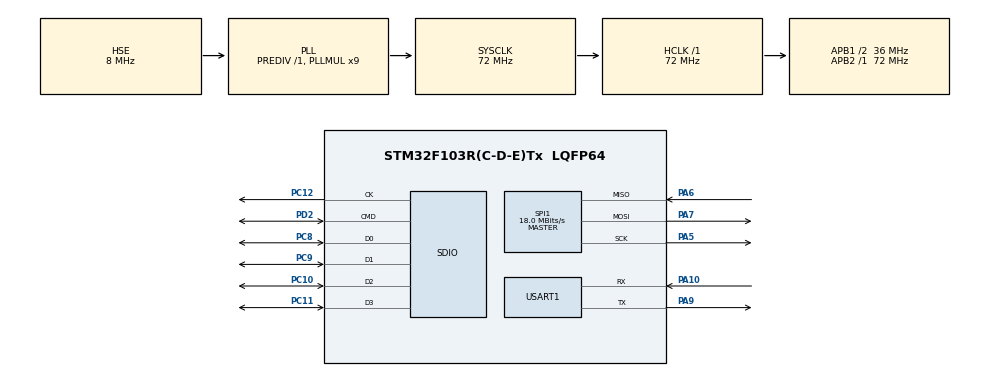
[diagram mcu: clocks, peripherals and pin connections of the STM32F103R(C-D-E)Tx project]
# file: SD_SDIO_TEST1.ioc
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Dma.Request0=SDIO
Dma.SDIO.0.Direction=DMA_PERIPH_TO_MEMORY
Dma.SDIO.0.Instance=DMA2_Channel4
Dma.SDIO.0.MemDataAlignment=DMA_MDATAALIGN_WORD
Dma.SDIO.0.MemInc=DMA_MINC_ENABLE
Dma.SDIO.0.Mode=DMA_NORMAL
Dma.SDIO.0.PeriphDataAlignment=DMA_PDATAALIGN_WORD
Dma.SDIO.0.PeriphInc=DMA_PINC_DISABLE
Dma.SDIO.0.Priority=DMA_PRIORITY_VERY_HIGH
FATFS._FS_RPATH=2
FATFS._MAX_SS=4096
Mcu.Family=STM32F1
Mcu.Name=STM32F103R(C-D-E)Tx
Mcu.Package=LQFP64
NVIC.DMA2_Channel4_5_IRQn=true\:0\:0\:false\:false\:true
NVIC.PriorityGroup=NVIC_PRIORITYGROUP_4
NVIC.SDIO_IRQn=true\:0\:0\:false\:false\:true
NVIC.USART1_IRQn=true\:0\:0\:false\:false\:true
PA10.Mode=Asynchronous
PA10.Signal=USART1_RX
PA13.Mode=Serial_Wire
PA13.Signal=SYS_JTMS-SWDIO
PA14.Mode=Serial_Wire
PA14.Signal=SYS_JTCK-SWCLK
PA5.Mode=Full_Duplex_Master
PA5.Signal=SPI1_SCK
PA6.Mode=Full_Duplex_Master
PA6.Signal=SPI1_MISO
PA7.Mode=Full_Duplex_Master
PA7.Signal=SPI1_MOSI
PA9.Mode=Asynchronous
PA9.Signal=USART1_TX
PC10.Mode=SD_4_bits_Wide_bus
PC10.Signal=SDIO_D2
PC11.Mode=SD_4_bits_Wide_bus
PC11.Signal=SDIO_D3
PC12.Mode=SD_4_bits_Wide_bus
PC12.Signal=SDIO_CK
PC8.Mode=SD_4_bits_Wide_bus
PC8.Signal=SDIO_D0
PC9.Mode=SD_4_bits_Wide_bus
PC9.Signal=SDIO_D1
PD0-OSC_IN.Mode=HSE-External-Oscillator
PD0-OSC_IN.Signal=RCC_OSC_IN
PD1-OSC_OUT.Mode=HSE-External-Oscillator
PD1-OSC_OUT.Signal=RCC_OSC_OUT
PD2.Mode=SD_4_bits_Wide_bus
PD2.Signal=SDIO_CMD
ProjectManager.HeapSize=0x200
ProjectManager.StackSize=0x400
ProjectManager.TargetToolchain=MDK-ARM V5
RCC.AHBFreq_Value=72000000
RCC.APB1CLKDivider=RCC_HCLK_DIV2
RCC.APB1Freq_Value=36000000
RCC.APB1TimFreq_Value=72000000
RCC.APB2Freq_Value=72000000
RCC.APB2TimFreq_Value=72000000
RCC.HCLKFreq_Value=72000000
RCC.PLLMUL=RCC_PLL_MUL9
RCC.PLLSourceVirtual=RCC_PLLSOURCE_HSE
RCC.SYSCLKFreq_VALUE=72000000
RCC.SYSCLKSource=RCC_SYSCLKSOURCE_PLLCLK
RCC.USBFreq_Value=72000000
SDIO.ClockDiv=2
SPI1.BaudRatePrescaler=SPI_BAUDRATEPRESCALER_4
SPI1.CLKPhase=SPI_PHASE_2EDGE
SPI1.CalculateBaudRate=18.0 MBits/s
SPI1.Direction=SPI_DIRECTION_2LINES
SPI1.Mode=SPI_MODE_MASTER
SPI1.VirtualType=VM_MASTER
USART1.VirtualMode=VM_ASYNC
VP_FATFS_VS_Generic.Mode=User_defined
VP_FATFS_VS_SDIO.Mode=SDIO
board=SD_SDIO_TEST1

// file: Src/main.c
/**
  ******************************************************************************
  * File Name          : main.c
  * Description        : Main program body
  ******************************************************************************
  * This notice applies to any and all portions of this file
  * that are not between comment pairs USER CODE BEGIN and
  * USER CODE END. Other portions of this file, whether
  * inserted by the user or by software development tools
  * are owned by their respective copyright owners.
  *
  * Copyright (c) 2017 STMicroelectronics International N.V.
  * All rights reserved.
  *
  * Redistribution and use in source and binary forms, with or without
  * modification, are permitted, provided that the following conditions are met:
  *
  * 1. Redistribution of source code must retain the above copyright notice,
  *    this list of conditions and the following disclaimer.
  * 2. Redistributions in binary form must reproduce the above copyright notice,
  *    this list of conditions and the following disclaimer in the documentation
  *    and/or other materials provided with the distribution.
  * 3. Neither the name of STMicroelectronics nor the names of other
  *    contributors to this software may be used to endorse or promote products
  *    derived from this software without specific written permission.
  * 4. This software, including modifications and/or derivative works of this
  *    software, must execute solely and exclusively on microcontroller or
  *    microprocessor devices manufactured by or for STMicroelectronics.
  * 5. Redistribution and use of this software other than as permitted under
  *    this license is void and will automatically terminate your rights under
  *    this license.
  *
  * THIS SOFTWARE IS PROVIDED BY STMICROELECTRONICS AND CONTRIBUTORS "AS IS"
  * AND ANY EXPRESS, IMPLIED OR STATUTORY WARRANTIES, INCLUDING, BUT NOT
  * LIMITED TO, THE IMPLIED WARRANTIES OF MERCHANTABILITY, FITNESS FOR A
  * PARTICULAR PURPOSE AND NON-INFRINGEMENT OF THIRD PARTY INTELLECTUAL PROPERTY
  * RIGHTS ARE DISCLAIMED TO THE FULLEST EXTENT PERMITTED BY LAW. IN NO EVENT
  * SHALL STMICROELECTRONICS OR CONTRIBUTORS BE LIABLE FOR ANY DIRECT, INDIRECT,
  * INCIDENTAL, SPECIAL, EXEMPLARY, OR CONSEQUENTIAL DAMAGES (INCLUDING, BUT NOT
  * LIMITED TO, PROCUREMENT OF SUBSTITUTE GOODS OR SERVICES; LOSS OF USE, DATA,
  * OR PROFITS; OR BUSINESS INTERRUPTION) HOWEVER CAUSED AND ON ANY THEORY OF
  * LIABILITY, WHETHER IN CONTRACT, STRICT LIABILITY, OR TORT (INCLUDING
  * NEGLIGENCE OR OTHERWISE) ARISING IN ANY WAY OUT OF THE USE OF THIS SOFTWARE,
  * EVEN IF ADVISED OF THE POSSIBILITY OF SUCH DAMAGE.
  *
  ******************************************************************************
  */
#include "main.h"
#include "stm32f1xx_hal.h"
#include "dma.h"
#include "fatfs.h"
#include "sdio.h"
#include "spi.h"
#include "usart.h"
#include "gpio.h"

/* USER CODE BEGIN PV */
/* Private variables ---------------------------------------------------------*/

/* USER CODE END PV */

void SystemClock_Config(void);

/* USER CODE BEGIN PFP */
/* Private function prototypes -----------------------------------------------*/

/* USER CODE END PFP */

/* USER CODE BEGIN 0 */
typedef enum {FAILED = 0, PASSED = !FAILED} TestStatus;

#define BLOCK_SIZE            512         // SD卡块大小
#define NUMBER_OF_BLOCKS      8           // 测试块数量(小于15)
#define WRITE_READ_ADDRESS    0x00000000  // 测试读写地址

SD_HandleTypeDef hsdcard;
uint32_t Buffer_Block_Tx[BLOCK_SIZE*NUMBER_OF_BLOCKS]; // 写数据缓存
uint32_t Buffer_Block_Rx[BLOCK_SIZE*NUMBER_OF_BLOCKS]; // 读数据缓存
HAL_SD_ErrorTypedef sd_status;    // HAL库函数操作SD卡函数返回值：操作结果
TestStatus test_status;           // 数据测试结果
	HAL_SD_TransferStateTypedef State;

void Fill_Buffer(uint32_t *pBuffer, uint32_t BufferLength, uint32_t Offset);
TestStatus Buffercmp(uint32_t* pBuffer1, uint32_t* pBuffer2, uint32_t BufferLength);
TestStatus eBuffercmp(uint32_t* pBuffer, uint32_t BufferLength);

void SD_EraseTest(void);
void SD_Write_Read_Test(void);

/* USER CODE END 0 */

int main(void)
{

  /* USER CODE BEGIN 1 */

//	HAL_SD_TransferStateTypedef State;

  /* USER CODE END 1 */

  /* MCU Configuration----------------------------------------------------------*/

  /* Reset of all peripherals, Initializes the Flash interface and the Systick. */
  HAL_Init();

  /* Configure the system clock */
  SystemClock_Config();

  /* Initialize all configured peripherals */
  MX_GPIO_Init();
  MX_DMA_Init();
  MX_SDIO_SD_Init();
  MX_FATFS_Init();
  MX_SPI1_Init();
  MX_USART1_UART_Init();

  /* USER CODE BEGIN 2 */

	printf("Hello World!\n\r");

	State = HAL_SD_GetStatus(&hsdcard);
	if( State == SD_TRANSFER_OK )
	{
		printf("SD卡初始化成功");
	}
	else
	{
		printf("SD卡初始化失败");
		while(1);  //停机
	}
	 /* 获取SD卡信息 */
  sd_status=HAL_SD_Get_CardInfo(&hsdcard,&SDCardInfo);
  if(sd_status==SD_OK)
  {
    printf( "CardType is ：%d\n", SDCardInfo.CardType );
    printf( "CardCapacity is ：0x%llX\n", SDCardInfo.CardCapacity );
    printf( "CardBlockSize is ：%d\n", SDCardInfo.CardBlockSize );
    printf( "RCA is ：%d\n", SDCardInfo.RCA);
    printf( "ManufacturerID is ：%d \n", SDCardInfo.SD_cid.ManufacturerID );
  }

  /* 擦除测试 */
  SD_EraseTest();
  /* 读写测试 */
  SD_Write_Read_Test();

  /* USER CODE END 2 */

  /* Infinite loop */
  while (1)
  {

  }

}

/** System Clock Configuration
*/
void SystemClock_Config(void)
{

  RCC_OscInitTypeDef RCC_OscInitStruct;
  RCC_ClkInitTypeDef RCC_ClkInitStruct;

    /**Initializes the CPU, AHB and APB busses clocks
    */
  RCC_OscInitStruct.OscillatorType = RCC_OSCILLATORTYPE_HSE;
  RCC_OscInitStruct.HSEState = RCC_HSE_ON;
  RCC_OscInitStruct.HSEPredivValue = RCC_HSE_PREDIV_DIV1;
  RCC_OscInitStruct.HSIState = RCC_HSI_ON;
  RCC_OscInitStruct.PLL.PLLState = RCC_PLL_ON;
  RCC_OscInitStruct.PLL.PLLSource = RCC_PLLSOURCE_HSE;
  RCC_OscInitStruct.PLL.PLLMUL = RCC_PLL_MUL9;
  if (HAL_RCC_OscConfig(&RCC_OscInitStruct) != HAL_OK)
  {
    _Error_Handler(__FILE__, __LINE__);
  }

    /**Initializes the CPU, AHB and APB busses clocks
    */
  RCC_ClkInitStruct.ClockType = RCC_CLOCKTYPE_HCLK|RCC_CLOCKTYPE_SYSCLK
                              |RCC_CLOCKTYPE_PCLK1|RCC_CLOCKTYPE_PCLK2;
  RCC_ClkInitStruct.SYSCLKSource = RCC_SYSCLKSOURCE_PLLCLK;
  RCC_ClkInitStruct.AHBCLKDivider = RCC_SYSCLK_DIV1;
  RCC_ClkInitStruct.APB1CLKDivider = RCC_HCLK_DIV2;
  RCC_ClkInitStruct.APB2CLKDivider = RCC_HCLK_DIV1;

  if (HAL_RCC_ClockConfig(&RCC_ClkInitStruct, FLASH_LATENCY_2) != HAL_OK)
  {
    _Error_Handler(__FILE__, __LINE__);
  }

    /**Configure the Systick interrupt time
    */
  HAL_SYSTICK_Config(HAL_RCC_GetHCLKFreq()/1000);

    /**Configure the Systick
    */
  HAL_SYSTICK_CLKSourceConfig(SYSTICK_CLKSOURCE_HCLK);

  /* SysTick_IRQn interrupt configuration */
  HAL_NVIC_SetPriority(SysTick_IRQn, 0, 0);
}

/* USER CODE BEGIN 4 */

/**
  * 函数功能: SD卡擦除测试
  * 输入参数: 无
  * 返 回 值: 无
  * 说    明: 无
  */
void SD_EraseTest(void)
{
	/* 第1个参数为SD卡句柄，第2个参数为擦除起始地址，第3个参数为擦除结束地址 */
  sd_status=HAL_SD_Erase(&hsdcard,WRITE_READ_ADDRESS,WRITE_READ_ADDRESS+BLOCK_SIZE*NUMBER_OF_BLOCKS*4);

  if (sd_status == SD_OK)
  {
    /* 读取刚刚擦除的区域 */
    sd_status = HAL_SD_ReadBlocks(&hsdcard,Buffer_Block_Rx,WRITE_READ_ADDRESS,BLOCK_SIZE,NUMBER_OF_BLOCKS);

    /* 把擦除区域读出来对比 */
    test_status = eBuffercmp(Buffer_Block_Rx,BLOCK_SIZE*NUMBER_OF_BLOCKS);

    if(test_status == PASSED)
      printf("》擦除测试成功！\n" );
    else
      printf("》擦除不成功，数据出错！\n" );
  }
  else
  {
    printf("》擦除测试失败！部分SD不支持擦除，只要读写测试通过即可\n" );
  }
}

/**
  * 函数功能: SD卡读写测试
  * 输入参数: 无
  * 返 回 值: 无
  * 说    明: 无
  */
void SD_Write_Read_Test(void)
{
  /* 填充数据到写缓存 */
  Fill_Buffer(Buffer_Block_Tx,BLOCK_SIZE*NUMBER_OF_BLOCKS, 0x32F1);

  /* 往SD卡写入数据 */
  sd_status = HAL_SD_WriteBlocks(&hsdcard,Buffer_Block_Tx,WRITE_READ_ADDRESS,BLOCK_SIZE,NUMBER_OF_BLOCKS);
  printf("write status:%d\n",sd_status);
  HAL_Delay(500);

  /* 从SD卡读取数据 */
  sd_status = HAL_SD_ReadBlocks(&hsdcard,Buffer_Block_Rx,WRITE_READ_ADDRESS,BLOCK_SIZE,NUMBER_OF_BLOCKS);
  printf("read status:%d\n",sd_status);

  /* 比较数据 */
  test_status = Buffercmp(Buffer_Block_Tx, Buffer_Block_Rx, BLOCK_SIZE*NUMBER_OF_BLOCKS/4);	//比较
  if(test_status == PASSED)
    printf("》读写测试成功！\n" );
  else
  	printf("》读写测试失败！\n " );
}

/**
  * 函数功能: 在缓冲区中填写数据
  * 输入参数: pBuffer：要填充的缓冲区
  *           BufferLength：要填充的大小
  *           Offset：填在缓冲区的第一个值
  * 返 回 值: 无
  * 说    明: 无
  */
void Fill_Buffer(uint32_t *pBuffer, uint32_t BufferLength, uint32_t Offset)
{
  uint32_t index = 0;
  /* 填充数据 */
  for (index = 0; index < BufferLength; index++ )
  {
    pBuffer[index] = index + Offset;
  }
}

/**
  * 函数功能: 比较两个缓冲区中的数据是否相等
  * 输入参数: pBuffer1：要比较的缓冲区1的指针
  *           pBuffer2：要比较的缓冲区2的指针
  *           BufferLength：缓冲区长度
  * 返 回 值: PASSED：相等
  *           FAILED：不等
  * 说    明: 无
  */
TestStatus Buffercmp(uint32_t* pBuffer1, uint32_t* pBuffer2, uint32_t BufferLength)
{
  while (BufferLength--)
  {
    if(BufferLength%50==0)
    {
      printf("buf:0x%08X - 0x%08X\n",*pBuffer1,*pBuffer2);
    }
    if (*pBuffer1 != *pBuffer2)
    {
      return FAILED;
    }
    pBuffer1++;
    pBuffer2++;
  }
  return PASSED;
}

/**
  * 函数功能: 检查缓冲区的数据是否为0xff或0
  * 输入参数: pBuffer：要比较的缓冲区的指针
  *           BufferLength：缓冲区长度
  * 返 回 值: PASSED：缓冲区的数据全为0xff或0
  *           FAILED：缓冲区的数据至少有一个不为0xff或0
  * 说    明: 无
  */
TestStatus eBuffercmp(uint32_t* pBuffer, uint32_t BufferLength)
{
  while (BufferLength--)
  {
    /* SD卡擦除后的可能值为0xff或0 */
    if ((*pBuffer != 0xFFFFFFFF) && (*pBuffer != 0))
    {
      return FAILED;
    }
    pBuffer++;
  }
  return PASSED;
}

/* USER CODE END 4 */

void _Error_Handler(char * file, int line)
{
  while(1)
  {
  }
}

/************************ (C) COPYRIGHT STMicroelectronics *****END OF FILE****/
